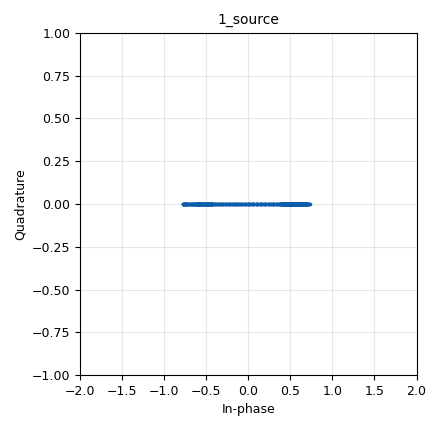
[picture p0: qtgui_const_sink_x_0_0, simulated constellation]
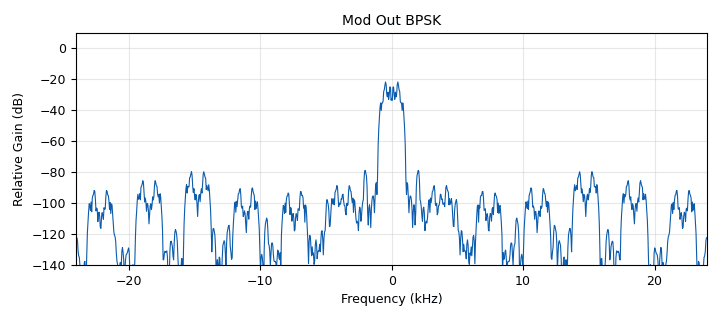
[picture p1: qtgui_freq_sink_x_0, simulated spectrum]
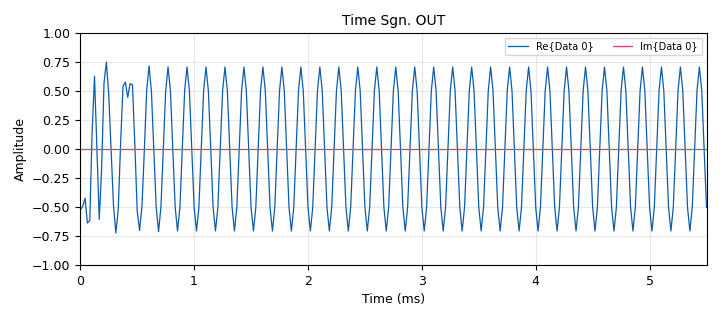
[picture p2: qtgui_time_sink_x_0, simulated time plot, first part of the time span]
options:
  parameters:
    generate_options: qt_gui
    id: default
    output_language: python
    title: Not titled yet
  states: {}

blocks:
- name: RX_rf_gain
  id: variable_qtgui_range
  parameters:
    start: '0'
    step: '1'
    stop: '50'
    value: '22'
  states: {}
- name: TX_rf_gain
  id: variable_qtgui_range
  parameters:
    start: '0'
    step: '1'
    stop: '500'
    value: '22'
  states: {}
- name: bpsk
  id: variable_constellation
  parameters:
    precision: '8'
    type: bpsk
  states: {}
- name: excess_bw
  id: variable
  parameters:
    value: '0.35'
  states: {}
- name: freq_slide
  id: variable_qtgui_range
  parameters:
    start: '0'
    step: 1e3
    stop: 1e6
    value: '0'
  states: {}
- name: order
  id: variable
  parameters:
    value: '2'
  states: {}
- name: phase_bw
  id: variable
  parameters:
    value: '0.0628'
  states: {}
- name: rs_ratio
  id: variable
  parameters:
    value: '1.040'
  states: {}
- name: samp_rate
  id: variable
  parameters:
    value: '48000'
  states: {}
- name: samp_rate_0
  id: variable
  parameters:
    value: '576000'
  states: {}
- name: sdr_samp_rate
  id: variable
  parameters:
    value: '576000'
  states: {}
- name: sps
  id: variable
  parameters:
    value: '2'
  states: {}
- name: sps_0
  id: variable
  parameters:
    value: '2'
  states: {}
- name: thresh
  id: variable
  parameters:
    value: '1'
  states: {}
- name: usrp_rate
  id: variable
  parameters:
    value: '768000'
  states: {}
- name: usrp_rate_0
  id: variable
  parameters:
    value: '768000'
  states: {}
- name: variable_adaptive_algorithm_0
  id: variable_adaptive_algorithm
  parameters:
    cons: bpsk
    modulus: sps
    step_size: '.0001'
    type: cma
  states: {}
- name: blocks_message_strobe_0
  id: blocks_message_strobe
  parameters:
    msg: pmt.cons(pmt.PMT_NIL,pmt.init_u8vector(562,(105,115,32,115,105,109,112,108,121,32,100,117,109,109,121,32,116,101,120,116,32,111,102,32,116,104,101,32,112,114,105,110,116,105,110,103,32,97,110,100,32,116,121,112,101,115,101,116,116,105,110,103,32,105,110,100,117,115,116,114,121,46,32,76,111,114,101,109,32,73,112,115,117,109,32,104,97,115,32,98,101,101,110,32,116,104,101,32,105,110,100,117,115,116,114,121,39,115,32,115,116,97,110,100,97,114,100,32,100,117,109,109,121,32,116,101,120,116,32,101,118,101,114,32,115,105,110,99,101,32,116,104,101,32,49,53,48,48,115,44,32,119,104,101,110,32,97,110,32,117,110,107,110,111,119,110,32,112,114,105,110,116,101,114,32,116,111,111,107,32,97,32,103,97,108,108,101,121,32,111,102,32,116,121,112,101,32,97,110,100,32,115,99,114,97,109,98,108,101,100,32,105,116,32,116,111,32,109,97,107,101,32,97,32,116,121,112,101,32,115,112,101,99,105,109,101,110,32,98,111,111,107,46,32,73,116,32,104,97,115,32,115,117,114,118,105,118,101,100,32,110,111,116,32,111,110,108,121,32,102,105,118,101,32,99,101,110,116,117,114,105,101,115,44,32,98,117,116,32,97,108,115,111,32,116,104,101,32,108,101,97,112,32,105,110,116,111,32,101,108,101,99,116,114,111,110,105,99,32,116,121,112,101,115,101,116,116,105,110,103,44,32,114,101,109,97,105,110,105,110,103,32,101,115,115,101,110,116,105,97,108,108,121,32,117,110,99,104,97,110,103,101,100,46,32,73,116,32,119,97,115,32,112,111,112,117,108,97,114,105,115,101,100,32,105,110,32,116,104,101,32,49,57,54,48,115,32,119,105,116,104,32,116,104,101,32,114,101,108,101,97,115,101,32,111,102,32,76,101,116,114,97,115,101,116,32,115,104,101,101,116,115,32,99,111,110,116,97,105,110,105,110,103,32,76,111,114,101,109,32,73,112,115,117,109,32,112,97,115,115,97,103,101,115,44,32,97,110,100,32,109,111,114,101,32,114,101,99,101,110,116,108,121,32,119,105,116,104,32,100,101,115,107,116,111,112,32,112,117,98,108,105,115,104,105,110,103,32,115,111,102,116,119,97,114,101,32,108,105,107,101,32,65,108,100,117,115,32,80,97,103,101,77,97,107,101,114,32,105,110,99,108,117,100,105,110,103,32,118,101,114,115,105,111,110,115,32,111,102,32,76,111,114,101,109,32,73,112,115,117,109,10)))
    period: '500'
  states: {}
- name: blocks_multiply_const_vxx_0
  id: blocks_multiply_const_vxx
  parameters:
    const: '0.5'
    type: complex
  states: {}
- name: blocks_throttle_0
  id: blocks_throttle
  parameters:
    samples_per_second: samp_rate
    type: complex
  states: {}
- name: digital_constellation_modulator_0
  id: digital_constellation_modulator
  parameters:
    constellation: bpsk
    differential: 'True'
    excess_bw: excess_bw
    samples_per_symbol: sps
  states: {}
- name: digital_crc32_async_bb_1
  id: digital_crc32_async_bb
  parameters:
    check: 'False'
  states: {}
- name: epy_block_0
  id: epy_block
  parameters:
    _source_code: |
      """
      Embedded Python Block
      """

      import numpy as np
      from gnuradio import gr
      import pmt

      class blk(gr.sync_block):
          """Packet Format"""

          def __init__(self):
              gr.sync_block.__init__(self,
                  name = "Packet Format",
                  in_sig = None,
                  out_sig = None)
              self.message_port_register_in(pmt.intern('PDU_in'))
              self.message_port_register_out(pmt.intern('PDU_out'))
              self.set_msg_handler(pmt.intern('PDU_in'), self.handle_msg)

          def handle_msg(self, msg):
              inMsg = pmt.to_python (msg)
              pld = inMsg[1]
              # print (pld)
              mLen = len(pld)
              # print (mLen)
              if (mLen > 0):
                  char_list = [85,85,85,85,85,85,85,85,85,85,85,85,85,85,85,85,85,85,85,85,85,85,85,85,85,85,85,85,85,85,85,85,225,90,232,147]
                  char_list.append (mLen >> 8)
                  char_list.append (mLen & 255)
                  char_list.append (mLen >> 8)
                  char_list.append (mLen & 255)
                  char_list.extend (pld)
                  # print (char_list)
                  out_len = len(char_list)
                  # print (out_len)
                  self.message_port_pub(pmt.intern('PDU_out'), pmt.cons(pmt.PMT_NIL,pmt.init_u8vector(out_len,(char_list))))
  states: {}
- name: mmse_resampler_xx_0
  id: mmse_resampler_xx
  parameters:
    phase_shift: '0'
    resamp_ratio: 1.0/((usrp_rate/samp_rate)*rs_ratio)
    type: complex
  states: {}
- name: note_0
  id: note
  parameters:
    comment: |-
      The CMA equalizer has been
      replaced by a Linear Equalizer
      and an Adaptive Algorithm for
      version 3.9
    note: CMA equalizer replaced
  states: {}
- name: osmosdr_sink_0
  id: osmosdr_sink
  parameters:
    args: '"bladerf=0,nchan=1,biastee=1"'
    bb_gain0: '20'
    freq0: 144.4e6+freq_slide
    gain0: TX_rf_gain
    if_gain0: '20'
    sample_rate: samp_rate_0
    sync: sync
    type: fc32
  states: {}
- name: pdu_pdu_to_tagged_stream_0
  id: pdu_pdu_to_tagged_stream
  parameters:
    tag: packet_len
    type: byte
  states: {}
- name: qtgui_const_sink_x_0_0
  id: qtgui_const_sink_x
  parameters:
    name: '"1_source"'
    size: '1024'
    type: complex
    ymax: '1'
    ymin: '-1'
  states: {}
- name: qtgui_freq_sink_x_0
  id: qtgui_freq_sink_x
  parameters:
    bw: samp_rate
    fc: '0'
    fftsize: '1024'
    name: '"Mod Out BPSK"'
    type: complex
  states: {}
- name: qtgui_time_sink_x_0
  id: qtgui_time_sink_x
  parameters:
    name: '"Time Sgn. OUT"'
    size: '1024'
    srate: samp_rate
    tr_mode: qtgui.TRIG_MODE_TAG
    tr_tag: '"packet_len"'
    type: complex
  states: {}
- name: virtual_sink_0
  id: virtual_sink
  parameters:
    stream_id: tx1
  states: {}
- name: virtual_source_0
  id: virtual_source
  parameters:
    stream_id: tx1
  states: {}
- name: zeromq_pub_sink_0
  id: zeromq_pub_sink
  parameters:
    address: tcp://127.0.0.1:49203
    comment: USRP sample rate = 768kHz
    timeout: '100'
    type: complex
  states: {state: disabled}
- name: zeromq_sub_source_0
  id: zeromq_sub_source
  parameters:
    address: tcp://127.0.0.1:49203
    comment: USRP sample rate = 768kHz
    timeout: '100'
    type: complex
  states: {state: disabled}

connections:
- [blocks_message_strobe_0, strobe, digital_crc32_async_bb_1, in]
- [blocks_multiply_const_vxx_0, '0', mmse_resampler_xx_0, '0']
- [blocks_multiply_const_vxx_0, '0', qtgui_time_sink_x_0, '0']
- [blocks_throttle_0, '0', blocks_multiply_const_vxx_0, '0']
- [digital_constellation_modulator_0, '0', virtual_sink_0, '0']
- [digital_crc32_async_bb_1, out, epy_block_0, PDU_in]
- [epy_block_0, PDU_out, pdu_pdu_to_tagged_stream_0, pdus]
- [mmse_resampler_xx_0, '0', osmosdr_sink_0, '0']
- [mmse_resampler_xx_0, '0', qtgui_const_sink_x_0_0, '0']
- [mmse_resampler_xx_0, '0', qtgui_freq_sink_x_0, '0']
- [mmse_resampler_xx_0, '0', zeromq_pub_sink_0, '0']
- [pdu_pdu_to_tagged_stream_0, '0', digital_constellation_modulator_0, '0']
- [virtual_source_0, '0', blocks_throttle_0, '0']

metadata:
  file_format: 1
  grc_version: 3.10.5.1
